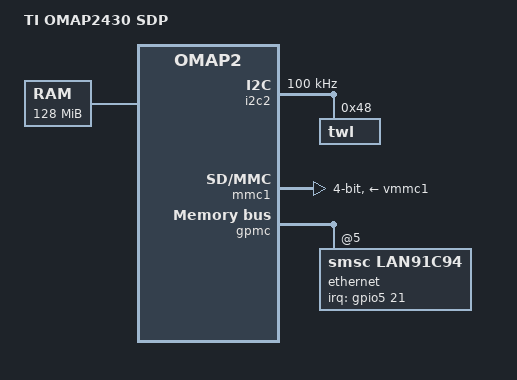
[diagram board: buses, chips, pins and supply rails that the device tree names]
/*
 * Copyright (C) 2013 Texas Instruments Incorporated - http://www.ti.com/
 *
 * This program is free software; you can redistribute it and/or modify
 * it under the terms of the GNU General Public License version 2 as
 * published by the Free Software Foundation.
 */
/dts-v1/;

#include "omap2430.dtsi"

/ {
	model = "TI OMAP2430 SDP";
	compatible = "ti,omap2430-sdp", "ti,omap2430", "ti,omap2";

	memory {
		device_type = "memory";
		reg = <0x80000000 0x8000000>; /* 128 MB */
	};
};

&i2c2 {
	clock-frequency = <100000>;

	twl: twl@48 {
		reg = <0x48>;
		interrupts = <7>; /* SYS_NIRQ cascaded to intc */
	};
};

#include "twl4030.dtsi"

&mmc1 {
	vmmc-supply = <&vmmc1>;
	bus-width = <4>;
};

&gpmc {
	ranges = <5 0 0x08000000 0x01000000>;
	ethernet@gpmc {
		compatible = "smsc,lan91c94";
		interrupt-parent = <&gpio5>;
		interrupts = <21 IRQ_TYPE_LEVEL_LOW>;	/* gpio149 */
		reg = <5 0x300 0xf>;
		bank-width = <2>;
		gpmc,sync-clk-ps = <0>;
		gpmc,mux-add-data = <2>;
		gpmc,device-width = <1>;
		gpmc,cycle2cycle-samecsen = <1>;
		gpmc,cycle2cycle-diffcsen = <1>;
		gpmc,cs-on-ns = <7>;
		gpmc,cs-rd-off-ns = <233>;
		gpmc,cs-wr-off-ns = <233>;
		gpmc,adv-on-ns = <22>;
		gpmc,adv-rd-off-ns = <60>;
		gpmc,adv-wr-off-ns = <60>;
		gpmc,oe-on-ns = <67>;
		gpmc,oe-off-ns = <210>;
		gpmc,we-on-ns = <67>;
		gpmc,we-off-ns = <210>;
		gpmc,rd-cycle-ns = <233>;
		gpmc,wr-cycle-ns = <233>;
		gpmc,access-ns = <233>;
		gpmc,page-burst-access-ns = <30>;
		gpmc,bus-turnaround-ns = <30>;
		gpmc,cycle2cycle-delay-ns = <30>;
		gpmc,wait-monitoring-ns = <0>;
		gpmc,clk-activation-ns = <0>;
		gpmc,wr-data-mux-bus-ns = <0>;
		gpmc,wr-access-ns = <0>;
	};
};

